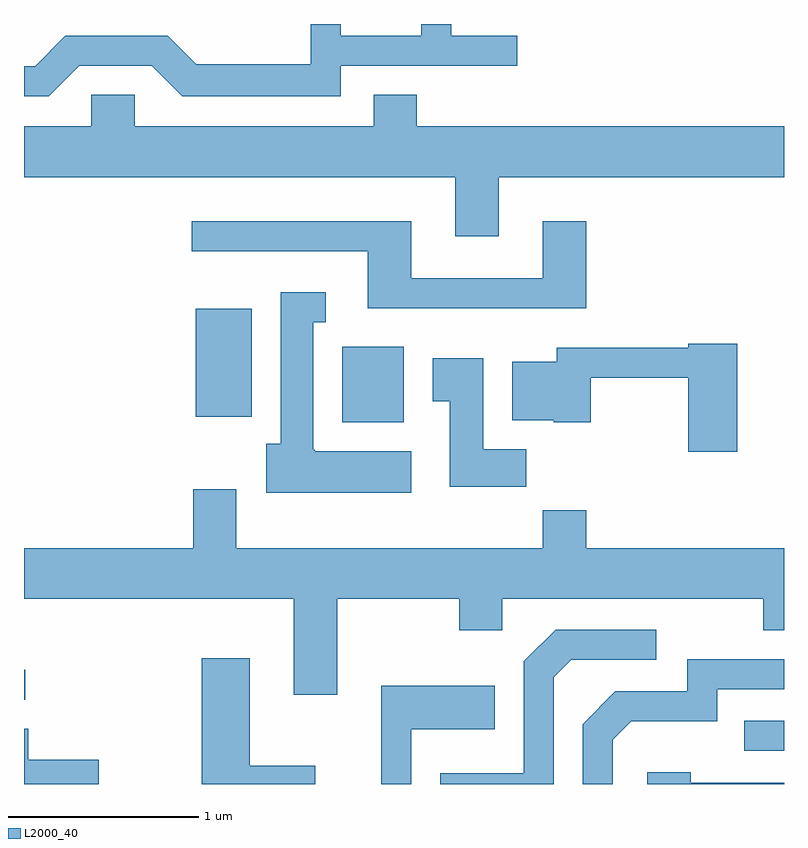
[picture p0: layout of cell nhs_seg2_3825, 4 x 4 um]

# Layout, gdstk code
import gdstk
lib = gdstk.Library(unit=1e-6, precision=1e-09)
def R(c, l, rs):  # rectangles x0, y0, x1, y1
    for r in rs: c.add(gdstk.rectangle(r[:2], r[2:], *l))
def P(c, l, *ps):  # polygons
    for p in ps: c.add(gdstk.Polygon(p, *l))
L2000_40 = (2000, 40)

nhs_seg2_3825 = lib.new_cell('nhs_seg2_3825')
R(nhs_seg2_3825, L2000_40, [(301.403,1031.976,301.611,1032.134), (297.611,1032.246,297.618,1032.404), (299.286,1033.706,299.609,1034.104), (298.516,1033.736,298.809,1034.304)])
P(nhs_seg2_3825, L2000_40, [(297.902,1035.581),(298.284,1035.581),(298.444,1035.421),(299.279,1035.421),(299.279,1035.581),(300.208,1035.581),(300.208,1035.739),(299.859,1035.739),(299.859,1035.802),(299.701,1035.802),(299.701,1035.739),(299.279,1035.739),(299.279,1035.802),(299.121,1035.802),(299.121,1035.589),(298.517,1035.589),(298.367,1035.739),(297.829,1035.739),(297.669,1035.579),(297.611,1035.579),(297.611,1035.421),(297.742,1035.421)],
  [(300.109,1034.996),(301.611,1034.996),(301.611,1035.264),(299.679,1035.264),(299.679,1035.429),(299.451,1035.429),(299.451,1035.264),(298.194,1035.264),(298.194,1035.429),(297.966,1035.429),(297.966,1035.264),(297.611,1035.264),(297.611,1034.996),(299.881,1034.996),(299.881,1034.686),(300.109,1034.686)],
  [(300.569,1034.764),(300.341,1034.764),(300.341,1034.464),(299.649,1034.464),(299.649,1034.764),(298.493,1034.764),(298.493,1034.606),(299.421,1034.606),(299.421,1034.306),(300.569,1034.306)],
  [(299.649,1033.554),(299.14,1033.554),(299.14,1033.56),(299.134,1033.56),(299.134,1034.231),(299.198,1034.231),(299.198,1034.389),(298.961,1034.389),(298.961,1033.594),(298.886,1033.594),(298.886,1033.336),(299.649,1033.336)],
  [(301.364,1034.119),(301.106,1034.119),(301.106,1034.099),(300.416,1034.099),(300.416,1034.024),(300.181,1034.024),(300.181,1033.716),(300.4,1033.716),(300.4,1033.706),(300.594,1033.706),(300.594,1033.941),(301.106,1033.941),(301.106,1033.551),(301.364,1033.551)],
  [(300.254,1033.564),(300.029,1033.564),(300.029,1034.044),(299.761,1034.044),(299.761,1033.816),(299.851,1033.816),(299.851,1033.366),(300.254,1033.366)],
  [(299.259,1032.776),(299.901,1032.776),(299.901,1032.611),(300.129,1032.611),(300.129,1032.776),(301.501,1032.776),(301.501,1032.611),(301.611,1032.611),(301.611,1033.044),(300.569,1033.044),(300.569,1033.244),(300.341,1033.244),(300.341,1033.044),(298.729,1033.044),(298.729,1033.354),(298.501,1033.354),(298.501,1033.044),(297.611,1033.044),(297.611,1032.776),(299.031,1032.776),(299.031,1032.271),(299.259,1032.271)],
  [(300.399,1032.363),(300.492,1032.456),(300.938,1032.456),(300.938,1032.614),(300.409,1032.614),(300.241,1032.447),(300.241,1031.859),(299.801,1031.859),(299.801,1031.802),(300.399,1031.802)],
  [(299.144,1031.899),(298.799,1031.899),(298.799,1032.464),(298.546,1032.464),(298.546,1031.802),(299.144,1031.802)],
  [(300.709,1032.034),(300.807,1032.131),(301.259,1032.131),(301.259,1032.301),(301.611,1032.301),(301.611,1032.459),(301.101,1032.459),(301.101,1032.289),(300.724,1032.289),(300.551,1032.117),(300.551,1031.802),(300.709,1031.802)],
  [(299.649,1032.091),(300.089,1032.091),(300.089,1032.319),(299.491,1032.319),(299.491,1031.802),(299.649,1031.802)],
  [(298.004,1031.929),(297.634,1031.929),(297.634,1032.094),(297.611,1032.094),(297.611,1031.802),(298.004,1031.802)],
  [(301.611,1031.809),(301.119,1031.809),(301.119,1031.864),(300.891,1031.864),(300.891,1031.802),(301.611,1031.802)])

lib.write_gds('nhs_seg2_3825.gds')
